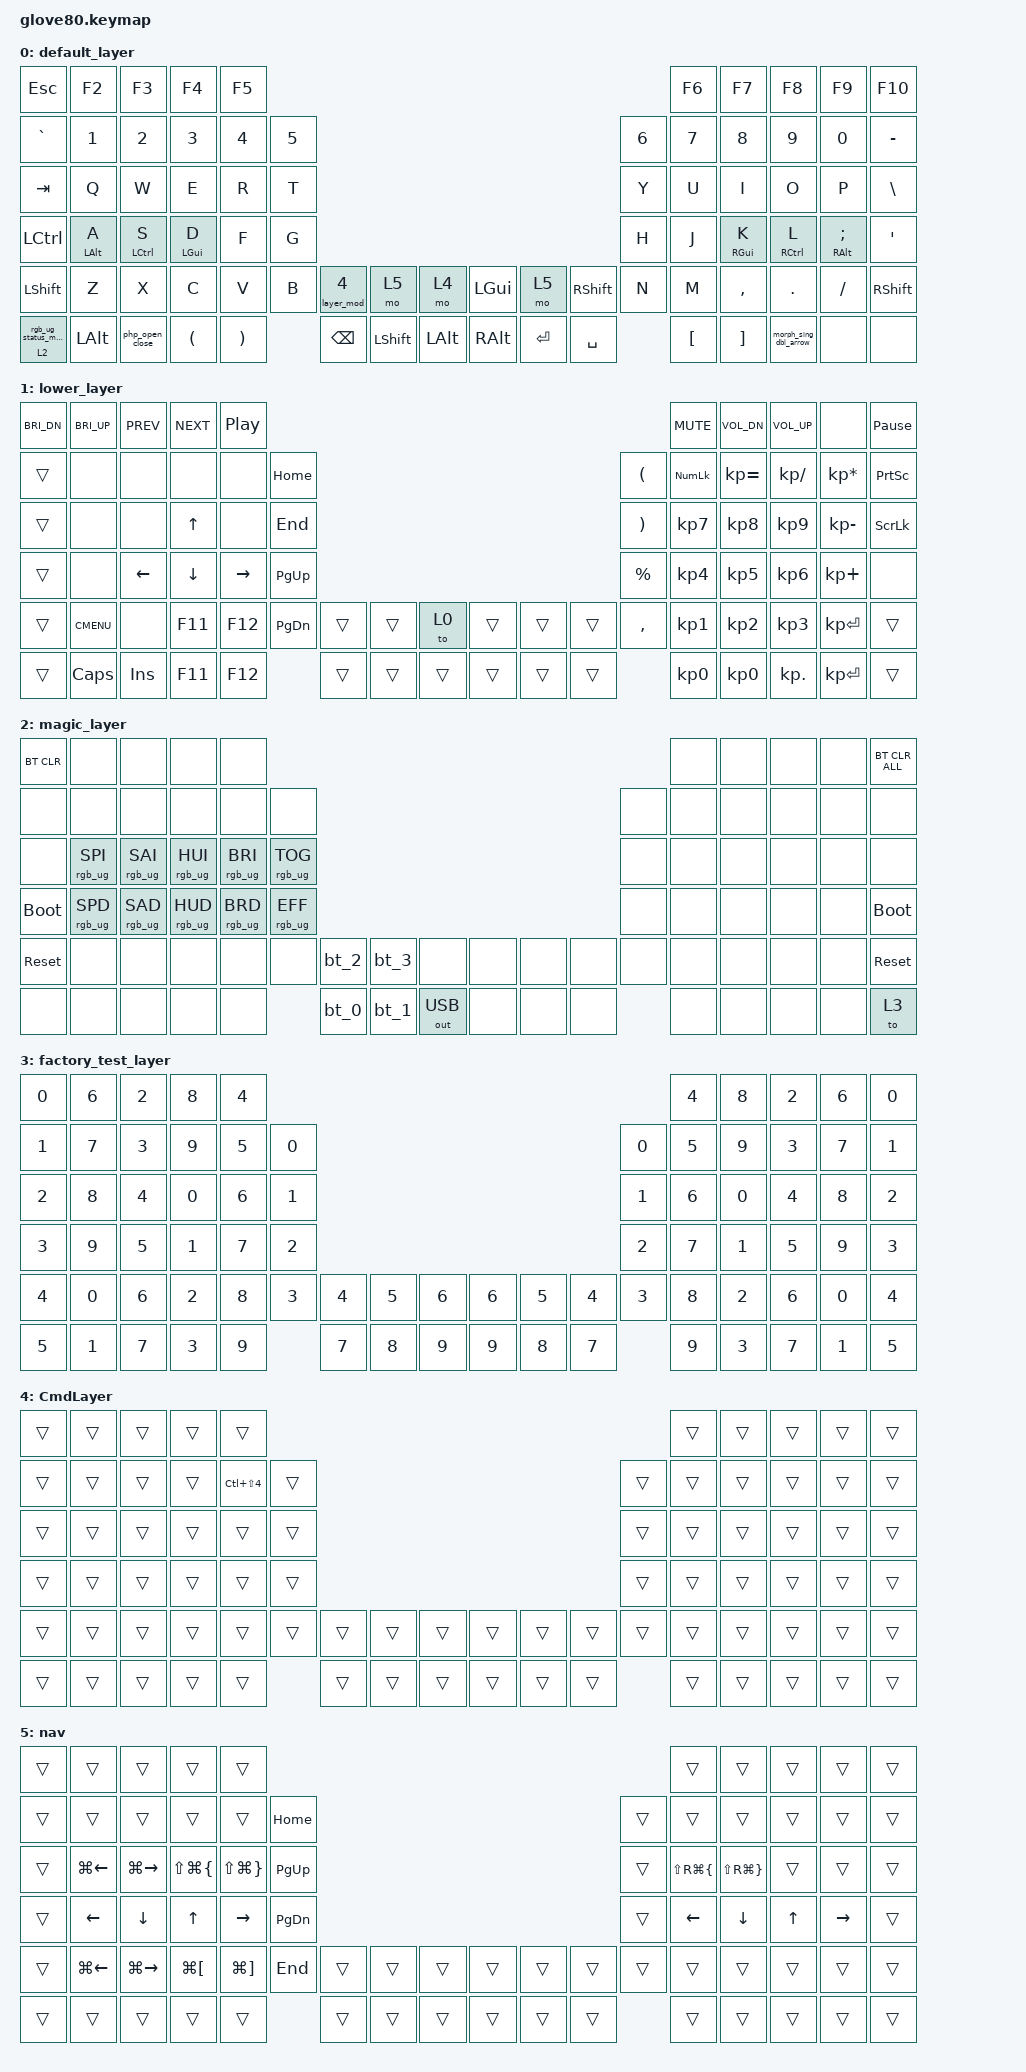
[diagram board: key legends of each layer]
/*
 * Copyright (c) 2020 The ZMK Contributors
 *
 * SPDX-License-Identifier: MIT
 */

#include <behaviors.dtsi>
#include <dt-bindings/zmk/bt.h>
#include <dt-bindings/zmk/keys.h>
#include <dt-bindings/zmk/outputs.h>
#include <dt-bindings/zmk/rgb.h>

#define HYPER LC(LS(LG(LALT)))

// layers

#define DEFAULT 0
#define LOWER 1
#define MAGIC 2
#define FACTORY_TEST 3

&sk {
    release-after-ms = <600>;
    quick-release;
};

&caps_word { continue-list = <UNDERSCORE BACKSPACE DELETE MINUS>; };

&sl {
    release-after-ms = <600>;

    /delete-property/ quick-release;
};

/ {
    behaviors {
        // For the "layer" key, it'd nice to be able to use it as either a shift or a toggle.
        // Configure it as a tap dance, so the first tap (or hold) is a &mo and the second tap is a &to

        layer_td: tap_dance_0 {
            compatible = "zmk,behavior-tap-dance";
            label = "LAYER_TAP_DANCE";
            #binding-cells = <0>;
            tapping-term-ms = <200>;
            bindings = <&mo 1>, <&to 1>;
        };

        magic: magic_hold_tap {
            compatible = "zmk,behavior-hold-tap";
            label = "MAGIC_HOLD_TAP";
            #binding-cells = <2>;
            flavor = "tap-preferred";
            tapping-term-ms = <200>;
            bindings = <&mo>, <&rgb_ug_status_macro>;
        };

        leftHand_hr_mt: leftHand_hr_mt {
            compatible = "zmk,behavior-hold-tap";
            label = "LEFTHAND_HR_MT";
            bindings = <&kp>, <&kp>;

            #binding-cells = <2>;
            tapping-term-ms = <225>;
            quick-tap-ms = <225>;
            flavor = "balanced";
            hold-trigger-key-positions = <55 72 73 56 57 74 58 75 76 59 40 28 41 60 77 61 42 29 16 5 17 30 43 44 62 78 79 63 45 33 32 31 18 19 6 7 8 20 21 9>;
            hold-trigger-on-release;
            require-prior-idle-ms = <185>;
        };

        rightHand_hr_mt: rightHand_hr_mt {
            compatible = "zmk,behavior-hold-tap";
            label = "RIGHTHAND_HR_MT";
            bindings = <&kp>, <&kp>;

            #binding-cells = <2>;
            tapping-term-ms = <225>;
            quick-tap-ms = <225>;
            flavor = "balanced";
            hold-trigger-on-release;
            require-prior-idle-ms = <185>;
            hold-trigger-key-positions = <0 1 2 3 4 10 11 12 13 14 15 22 23 24 25 26 27 34 35 36 37 38 39 46 47 48 49 50 51 52 53 54 64 65 66 67 68 69 70 71>;
        };

        leftHand_hr_mt_shift: leftHand_hr_mt_shift {
            compatible = "zmk,behavior-hold-tap";
            label = "LEFTHAND_HR_MT_SHIFT";
            bindings = <&kp>, <&kp>;

            #binding-cells = <2>;
            tapping-term-ms = <265>;
            quick-tap-ms = <200>;
            flavor = "balanced";
            hold-trigger-key-positions = <5 6 7 8 9 16 17 18 19 20 21 28 29 30 31 32 33 40 41 42 43 44 45 55 56 57 58 59 60 61 62 63 72 73 74 75 76 77 78 79>;
            hold-trigger-on-release;
            require-prior-idle-ms = <115>;
        };

        rightHand_hr_mt_shift: rightHand_hr_mt_shift {
            compatible = "zmk,behavior-hold-tap";
            label = "RIGHTHAND_HR_MT_SHIFT";
            bindings = <&kp>, <&kp>;

            #binding-cells = <2>;
            tapping-term-ms = <165>;
            quick-tap-ms = <200>;
            flavor = "balanced";
            hold-trigger-on-release;
            require-prior-idle-ms = <115>;
            hold-trigger-key-positions = <0 1 2 3 4 10 11 12 13 14 15 22 23 24 25 26 27 34 35 36 37 38 39 46 47 48 49 50 51 52 53 54 64 65 66 67 68 69 70 71>;
        };

        backspace_delete: backspace_delete {
            compatible = "zmk,behavior-mod-morph";
            label = "BACKSPACE_DELETE";
            bindings = <&kp BACKSPACE>, <&kp DELETE>;

            #binding-cells = <0>;
            mods = <(MOD_LSFT|MOD_RSFT)>;
        };

        td_lshift_capsword: td_lshift_capsword {
            compatible = "zmk,behavior-tap-dance";
            label = "TD_LSHIFT_CAPSWORD";
            #binding-cells = <0>;
            bindings = <&sk LSHIFT>, <&caps_word>;

            tapping-term-ms = <275>;
        };

        left_up: left_up {
            compatible = "zmk,behavior-mod-morph";
            label = "LEFT_UP";
            bindings = <&kp LEFT>, <&kp UP_ARROW>;

            #binding-cells = <0>;
            mods = <(MOD_LSFT|MOD_RSFT)>;
        };

        right_down: right_down {
            compatible = "zmk,behavior-mod-morph";
            label = "RIGHT_DOWN";
            bindings = <&kp RIGHT>, <&kp DOWN>;

            #binding-cells = <0>;
            mods = <(MOD_LSFT|MOD_RSFT)>;
        };

        tap_dance_toggle_numbers: tap_dance_toggle_numbers {
            compatible = "zmk,behavior-tap-dance";
            label = "TAP_DANCE_TOGGLE_NUMBERS";
            #binding-cells = <0>;
            bindings = <&mo 1>, <&mo 1>, <&to 1>;

            tapping-term-ms = <275>;
        };

        th_layer_shift_capsword: th_layer_shift_capsword {
            compatible = "zmk,behavior-hold-tap";
            label = "TH_LAYER_SHIFT_CAPSWORD";
            bindings = <&mo>, <&td_lshift_capsword>;

            #binding-cells = <2>;
            flavor = "tap-preferred";
            tapping-term-ms = <200>;
        };

        morph_sing_dbl_arrow: morph_sing_dbl_arrow {
            compatible = "zmk,behavior-mod-morph";
            label = "MORPH_SING_DBL_ARROW";
            bindings = <&single_arrow>, <&double_arrow>;

            #binding-cells = <0>;
            mods = <(MOD_LSFT|MOD_RSFT)>;
        };

        th_arrow_layer: th_arrow_layer {
            compatible = "zmk,behavior-hold-tap";
            label = "TH_ARROW_LAYER";
            bindings = <&mo>, <&morph_sing_dbl_arrow>;

            #binding-cells = <2>;
            tapping-term-ms = <225>;
            flavor = "tap-preferred";
        };

        morph_parens: morph_parens {
            compatible = "zmk,behavior-mod-morph";
            label = "MORPH_PARENS";
            bindings = <&kp LEFT_PARENTHESIS>, <&kp RIGHT_PARENTHESIS>;

            #binding-cells = <0>;
            mods = <(MOD_LSFT|MOD_RSFT)>;
        };

        morph_sqr_brackets: morph_sqr_brackets {
            compatible = "zmk,behavior-mod-morph";
            label = "MORPH_SQR_BRACKETS";
            bindings = <&kp LEFT_BRACKET>, <&kp RIGHT_BRACKET>;

            #binding-cells = <0>;
            mods = <(MOD_LSFT|MOD_RSFT)>;
        };

        morph_curly_brackets: morph_curly_brackets {
            compatible = "zmk,behavior-mod-morph";
            label = "MORPH_CURLY_BRACKETS";
            bindings = <&kp LEFT_BRACE>, <&kp RIGHT_BRACE>;

            #binding-cells = <0>;
            mods = <(MOD_LSFT|MOD_RSFT)>;
        };

        tap_skshift_td_cword_hkpshift: tap_skshift_td_cword_hkpshift {
            compatible = "zmk,behavior-hold-tap";
            label = "TAP_SKSHIFT_TD_CWORD_HKPSHIFT";
            bindings = <&kp>, <&td_lshift_capsword>;

            #binding-cells = <2>;
            tapping-term-ms = <179>;
            flavor = "tap-preferred";
        };

        php_open_close: php_open_close {
            compatible = "zmk,behavior-mod-morph";
            label = "PHP_OPEN_CLOSE";
            bindings = <&php_open>, <&php_close>;

            #binding-cells = <0>;
            mods = <(MOD_LSFT|MOD_RSFT)>;
        };

        php_echo_close: php_echo_close {
            compatible = "zmk,behavior-mod-morph";
            label = "PHP_ECHO_CLOSE";
            bindings = <&php_echo>, <&php_close>;

            #binding-cells = <0>;
            mods = <(MOD_LSFT|MOD_RSFT)>;
        };

        tap_dance_capslock: tap_dance_capslock {
            compatible = "zmk,behavior-tap-dance";
            label = "TAP_DANCE_CAPSLOCK";
            #binding-cells = <0>;
            bindings = <&kp LSHIFT>, <&kp CAPSLOCK>;

            tapping-term-ms = <230>;
        };

        td_morph_sqr_brkt: td_morph_sqr_brkt {
            compatible = "zmk,behavior-tap-dance";
            label = "TD_MORPH_SQR_BRKT";
            #binding-cells = <0>;
            bindings = <&morph_sqr_brackets>, <&kp RIGHT_BRACKET>;
        };

        td_morph_curly_brkt: td_morph_curly_brkt {
            compatible = "zmk,behavior-tap-dance";
            label = "TD_MORPH_CURLY_BRKT";
            #binding-cells = <0>;
            bindings = <&morph_curly_brackets>, <&kp RIGHT_BRACE>;
        };

        td_morph_parens: td_morph_parens {
            compatible = "zmk,behavior-tap-dance";
            label = "TD_MORPH_PARENS";
            #binding-cells = <0>;
            bindings = <&morph_parens>, <&kp RIGHT_PARENTHESIS>;
        };

        tap_bspace_hold_layer3: tap_bspace_hold_layer3 {
            compatible = "zmk,behavior-hold-tap";
            label = "TAP_BSPACE_HOLD_LAYER3";
            bindings = <&mo>, <&backspace_delete>;

            #binding-cells = <2>;
            tapping-term-ms = <155>;
            quick-tap-ms = <125>;
            flavor = "tap-preferred";
        };

        th_space_layer: th_space_layer {
            compatible = "zmk,behavior-hold-tap";
            label = "TH_SPACE_LAYER";
            bindings = <&mo>, <&kp>;

            #binding-cells = <2>;
            tapping-term-ms = <155>;
            quick-tap-ms = <125>;
            flavor = "tap-preferred";
        };
    };

    macros {
        rgb_ug_status_macro: rgb_ug_status_macro_0 {
            label = "RGB_UG_STATUS";
            compatible = "zmk,behavior-macro";
            #binding-cells = <0>;
            bindings = <&rgb_ug RGB_STATUS>;
        };

        bt_0: bt_profile_macro_0 {
            label = "BT_0";
            compatible = "zmk,behavior-macro";
            #binding-cells = <0>;
            bindings = <&out OUT_BLE &bt BT_SEL 0>;
        };

        bt_1: bt_profile_macro_1 {
            label = "BT_1";
            compatible = "zmk,behavior-macro";
            #binding-cells = <0>;
            bindings = <&out OUT_BLE &bt BT_SEL 1>;
        };

        bt_2: bt_profile_macro_2 {
            label = "BT_2";
            compatible = "zmk,behavior-macro";
            #binding-cells = <0>;
            bindings = <&out OUT_BLE &bt BT_SEL 2>;
        };

        bt_3: bt_profile_macro_3 {
            label = "BT_3";
            compatible = "zmk,behavior-macro";
            #binding-cells = <0>;
            bindings = <&out OUT_BLE &bt BT_SEL 3>;
        };

        php_open: php_open {
            compatible = "zmk,behavior-macro";
            #binding-cells = <0>;
            bindings = <&kp LT &kp QMARK &kp P &kp H &kp P &kp RET>;
            label = "PHP_OPEN";
        };

        single_arrow: single_arrow {
            compatible = "zmk,behavior-macro";
            #binding-cells = <0>;
            bindings = <&kp MINUS &kp GT>;
            label = "SINGLE_ARROW";
        };

        double_arrow: double_arrow {
            compatible = "zmk,behavior-macro";
            #binding-cells = <0>;
            bindings = <&kp EQUAL &kp GT>;
            label = "DOUBLE_ARROW";
        };

        function: function {
            compatible = "zmk,behavior-macro";
            #binding-cells = <0>;
            bindings = <&kp F &kp U &kp N &kp C &kp T &kp I &kp O &kp N &kp LPAR &kp RPAR &kp LEFT_ARROW>;
            label = "FUNCTION";
        };

        php_echo: php_echo {
            compatible = "zmk,behavior-macro";
            #binding-cells = <0>;
            bindings = <&kp LT &kp QMARK &kp EQUAL &kp SPACE>;
            label = "PHP_ECHO";
        };

        php_close: php_close {
            compatible = "zmk,behavior-macro";
            #binding-cells = <0>;
            bindings = <&kp QMARK &kp GT>;
            label = "PHP_CLOSE";
        };

        template_output: template_output {
            compatible = "zmk,behavior-macro";
            #binding-cells = <0>;
            bindings = <&kp LEFT_BRACE &kp LEFT_BRACE &kp SPACE &kp SPACE &kp RBRC &kp RBRC &kp LEFT_ARROW &kp LEFT_ARROW &kp LEFT>;
            label = "TEMPLATE_OUTPUT";
        };

        layer_mod: layer_mod {
            compatible = "zmk,behavior-macro-one-param";
            #binding-cells = <1>;
            bindings =
                <&kp LGUI>,
                <&macro_press>,
                <&macro_param_1to1 &mo MACRO_PLACEHOLDER>;

            label = "LAYER_MOD";
        };
    };

    keymap {
        compatible = "zmk,keymap";

        default_layer {
            // ---------------------------------------------------------------------------------------------------------------------------------
            // |  F1   |  F2 |  F3 |  F4  |  F5  |                                                               |  F6   |  F7   |  F8  |   F9  |  F10 |
            // |  =    |  1  |  2  |  3   |  4   |  5   |                                                 |  6   |   7   |   8   |  9   |   0   |   -  |
            // |  TAB  |  Q  |  W  |  E   |  R   |  T   |                                                 |  Y   |   U   |   I   |  O   |   P   |   \  |
            // |  ESC  |  A  |  S  |  D   |  F   |  G   |                                                 |  H   |   J   |   K   |  L   |   ;   |   '  |
            // |   `   |  Z  |  X  |  C   |  V   |  B   | LSHFT | LCTRL | LOWER | | LGUI  | RCTRL | RSHFT |  N   |   M   |   ,   |  .   |   /   | PGUP |
            // | MAGIC | HOME| END | LEFT | RIGHT|      | BSPC  | DEL   | LALT  | | RALT  | RET   | SPACE |      |  UP   | DOWN  |  [   |   ]   | PGDN |

            bindings = <
&kp ESCAPE        &kp F2                      &kp F3                   &kp F4                      &kp F5                                                                                                    &kp F6            &kp F7                        &kp F8                            &kp F9                                &kp F10
&kp GRAVE         &kp N1                      &kp N2                   &kp N3                      &kp N4                 &kp N5                                                                     &kp N6  &kp N7            &kp N8                        &kp N9                            &kp N0                                &kp MINUS
&kp TAB           &kp Q                       &kp W                    &kp E                       &kp R                  &kp T                                                                      &kp Y   &kp U             &kp I                         &kp O                             &kp P                                 &kp BSLH
&kp LEFT_CONTROL  &leftHand_hr_mt LEFT_ALT A  &leftHand_hr_mt LCTRL S  &leftHand_hr_mt LEFT_GUI D  &kp F                  &kp G                                                                      &kp H   &kp J             &rightHand_hr_mt RIGHT_GUI K  &rightHand_hr_mt RIGHT_CONTROL L  &rightHand_hr_mt RIGHT_ALT SEMICOLON  &kp SQT
&kp LEFT_SHIFT    &kp Z                       &kp X                    &kp C                       &kp V                  &kp B   &layer_mod 4   &mo 5       &mo 4     &kp LGUI  &mo 5    &kp RSHFT  &kp N   &kp M             &kp COMMA                     &kp DOT                           &kp FSLH                              &kp RIGHT_SHIFT
&magic 2 0        &kp LALT                    &php_open_close          &kp LEFT_PARENTHESIS        &kp RIGHT_PARENTHESIS          &kp BACKSPACE  &kp LSHIFT  &kp LALT  &kp RALT  &kp RET  &kp SPACE          &kp LEFT_BRACKET  &kp RIGHT_BRACKET             &morph_sing_dbl_arrow             &none                                 &none
            >;
        };

        lower_layer {
            bindings = <
&kp C_BRI_DN  &kp C_BRI_UP  &kp C_PREV  &kp C_NEXT  &kp C_PP                                                                         &kp C_MUTE  &kp C_VOL_DN  &kp C_VOL_UP   &none            &kp PAUSE_BREAK
&trans        &none         &none       &none       &none      &kp HOME                                                   &kp LPAR   &kp KP_NUM  &kp KP_EQUAL  &kp KP_DIVIDE  &kp KP_MULTIPLY  &kp PSCRN
&trans        &none         &none       &kp UP      &none      &kp END                                                    &kp RPAR   &kp KP_N7   &kp KP_N8     &kp KP_N9      &kp KP_MINUS     &kp SLCK
&trans        &none         &kp LEFT    &kp DOWN    &kp RIGHT  &kp PG_UP                                                  &kp PRCNT  &kp KP_N4   &kp KP_N5     &kp KP_N6      &kp KP_PLUS      &none
&trans        &kp K_CMENU   &none       &kp F11     &kp F12    &kp PG_DN  &trans  &trans  &to 0   &trans  &trans  &trans  &kp COMMA  &kp KP_N1   &kp KP_N2     &kp KP_N3      &kp KP_ENTER     &trans
&trans        &kp CAPS      &kp INS     &kp F11     &kp F12               &trans  &trans  &trans  &trans  &trans  &trans             &kp KP_N0   &kp KP_N0     &kp KP_DOT     &kp KP_ENTER     &trans
            >;
        };

        magic_layer {
            bindings = <
&bt BT_CLR   &none            &none            &none            &none                                                                                     &none  &none  &none  &none  &bt BT_CLR_ALL
&none        &none            &none            &none            &none            &none                                                             &none  &none  &none  &none  &none  &none
&none        &rgb_ug RGB_SPI  &rgb_ug RGB_SAI  &rgb_ug RGB_HUI  &rgb_ug RGB_BRI  &rgb_ug RGB_TOG                                                   &none  &none  &none  &none  &none  &none
&bootloader  &rgb_ug RGB_SPD  &rgb_ug RGB_SAD  &rgb_ug RGB_HUD  &rgb_ug RGB_BRD  &rgb_ug RGB_EFF                                                   &none  &none  &none  &none  &none  &bootloader
&sys_reset   &none            &none            &none            &none            &none            &bt_2  &bt_3  &none         &none  &none  &none  &none  &none  &none  &none  &none  &sys_reset
&none        &none            &none            &none            &none                             &bt_0  &bt_1  &out OUT_USB  &none  &none  &none         &none  &none  &none  &none  &to 3
            >;
        };

        factory_test_layer {
            bindings = <
&kp N0  &kp N6  &kp N2  &kp N8  &kp N4                                                                  &kp N4  &kp N8  &kp N2  &kp N6  &kp N0
&kp N1  &kp N7  &kp N3  &kp N9  &kp N5  &kp N0                                                  &kp N0  &kp N5  &kp N9  &kp N3  &kp N7  &kp N1
&kp N2  &kp N8  &kp N4  &kp N0  &kp N6  &kp N1                                                  &kp N1  &kp N6  &kp N0  &kp N4  &kp N8  &kp N2
&kp N3  &kp N9  &kp N5  &kp N1  &kp N7  &kp N2                                                  &kp N2  &kp N7  &kp N1  &kp N5  &kp N9  &kp N3
&kp N4  &kp N0  &kp N6  &kp N2  &kp N8  &kp N3  &kp N4  &kp N5  &kp N6  &kp N6  &kp N5  &kp N4  &kp N3  &kp N8  &kp N2  &kp N6  &kp N0  &kp N4
&kp N5  &kp N1  &kp N7  &kp N3  &kp N9          &kp N7  &kp N8  &kp N9  &kp N9  &kp N8  &kp N7          &kp N9  &kp N3  &kp N7  &kp N1  &kp N5
            >;
        };

        CmdLayer {
            bindings = <
&trans  &trans  &trans  &trans  &trans                                                                                &trans  &trans  &trans  &trans  &trans
&trans  &trans  &trans  &trans  &kp LC(LS(NUMBER_4))  &trans                                                  &trans  &trans  &trans  &trans  &trans  &trans
&trans  &trans  &trans  &trans  &trans                &trans                                                  &trans  &trans  &trans  &trans  &trans  &trans
&trans  &trans  &trans  &trans  &trans                &trans                                                  &trans  &trans  &trans  &trans  &trans  &trans
&trans  &trans  &trans  &trans  &trans                &trans  &trans  &trans  &trans  &trans  &trans  &trans  &trans  &trans  &trans  &trans  &trans  &trans
&trans  &trans  &trans  &trans  &trans                        &trans  &trans  &trans  &trans  &trans  &trans          &trans  &trans  &trans  &trans  &trans
            >;
        };

        nav {
            bindings = <
&trans  &trans        &trans         &trans                &trans                                                                               &trans            &trans            &trans  &trans     &trans
&trans  &trans        &trans         &trans                &trans            &kp HOME                                                   &trans  &trans            &trans            &trans  &trans     &trans
&trans  &kp LG(LEFT)  &kp LG(RIGHT)  &kp LS(LG(LBRC))      &kp LS(LG(RBRC))  &kp PG_UP                                                  &trans  &kp LS(RG(LBRC))  &kp LS(RG(RBRC))  &trans  &trans     &trans
&trans  &kp LEFT      &kp DOWN       &kp UP                &kp RIGHT         &kp PG_DN                                                  &trans  &kp LEFT          &kp DOWN          &kp UP  &kp RIGHT  &trans
&trans  &kp LG(LEFT)  &kp LG(RIGHT)  &kp LG(LEFT_BRACKET)  &kp LG(RBKT)      &kp END    &trans  &trans  &trans  &trans  &trans  &trans  &trans  &trans            &trans            &trans  &trans     &trans
&trans  &trans        &trans         &trans                &trans                       &trans  &trans  &trans  &trans  &trans  &trans          &trans            &trans            &trans  &trans     &trans
            >;
        };
    };
};
